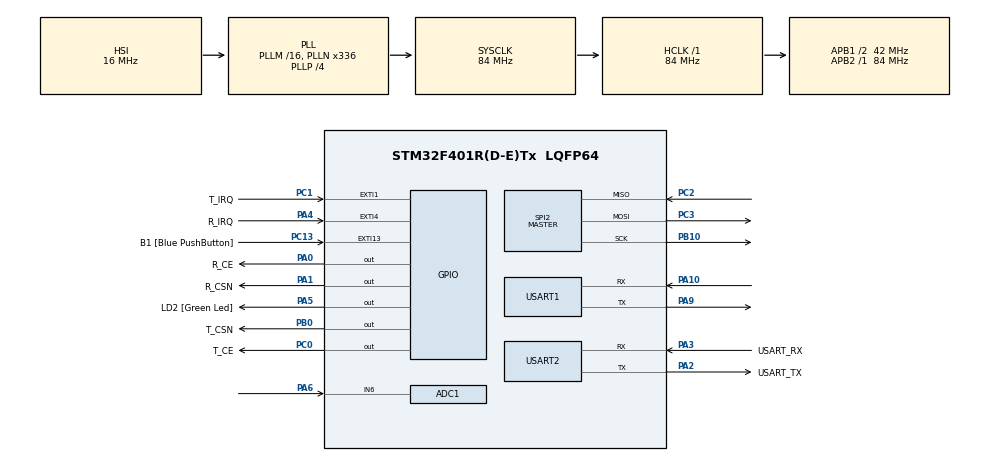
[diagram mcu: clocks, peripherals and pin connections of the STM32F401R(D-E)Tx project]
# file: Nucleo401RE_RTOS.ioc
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ADC1.Channel-4\#ChannelRegularConversion=ADC_CHANNEL_6
ADC1.ClockPrescaler=ADC_CLOCK_SYNC_PCLK_DIV4
ADC1.ContinuousConvMode=DISABLE
ADC1.DMAContinuousRequests=DISABLE
ADC1.DataAlign=ADC_DATAALIGN_RIGHT
ADC1.DiscontinuousConvMode=DISABLE
ADC1.EOCSelection=ADC_EOC_SINGLE_CONV
ADC1.EnableAnalogWatchDog=false
ADC1.ExternalTrigConvEdge=ADC_EXTERNALTRIGCONVEDGE_NONE
ADC1.InjNumberOfConversion=0
ADC1.NbrOfConversion=1
ADC1.NbrOfConversionFlag=1
ADC1.Rank-4\#ChannelRegularConversion=1
ADC1.Resolution=ADC_RESOLUTION_12B
ADC1.SamplingTime-4\#ChannelRegularConversion=ADC_SAMPLETIME_3CYCLES
ADC1.ScanConvMode=DISABLE
ADC1.master=1
Dma.Request0=USART2_TX
Dma.USART2_TX.0.Direction=DMA_MEMORY_TO_PERIPH
Dma.USART2_TX.0.FIFOMode=DMA_FIFOMODE_DISABLE
Dma.USART2_TX.0.Instance=DMA1_Stream6
Dma.USART2_TX.0.MemDataAlignment=DMA_MDATAALIGN_BYTE
Dma.USART2_TX.0.MemInc=DMA_MINC_ENABLE
Dma.USART2_TX.0.Mode=DMA_NORMAL
Dma.USART2_TX.0.PeriphDataAlignment=DMA_PDATAALIGN_BYTE
Dma.USART2_TX.0.PeriphInc=DMA_PINC_DISABLE
Dma.USART2_TX.0.Priority=DMA_PRIORITY_LOW
FREERTOS.BinarySemaphores01=nRFTxStatus;nRFRxStatus
FREERTOS.INCLUDE_vTaskDelayUntil=1
FREERTOS.Queues01=CmdQueue,32,xCmd,NULL;U2TxQueue,32,xCmdResponse,NULL
FREERTOS.Tasks01=defaultTask,-1,128,StartDefaultTask,Default;CMDQ,1,512,CmdProcessQueue,Default;U2TX,-1,256,Usart2Tx,Default;SPITxIrq,0,256,SPITxIrqStatus,Default;SPIRxIrq,0,256,SPIRxIrqStatus,Default
FREERTOS.configTOTAL_HEAP_SIZE=15450
IWDG.Prescaler=IWDG_PRESCALER_16
Mcu.Family=STM32F4
Mcu.Name=STM32F401R(D-E)Tx
Mcu.Package=LQFP64
NVIC.DMA1_Stream6_IRQn=true\:5\:0\:false\:false\:true
NVIC.EXTI15_10_IRQn=true\:5\:0\:false\:false\:true
NVIC.EXTI1_IRQn=true\:5\:0\:false\:false\:true
NVIC.EXTI4_IRQn=true\:5\:0\:false\:false\:true
NVIC.PriorityGroup=NVIC_PRIORITYGROUP_4
NVIC.TIM1_UP_TIM10_IRQn=true\:5\:0\:false\:false\:true
PA0-WKUP.GPIO_Label=R_CE
PA0-WKUP.GPIO_ModeDefaultOutputPP=GPIO_MODE_OUTPUT_OD
PA0-WKUP.GPIO_PuPd=GPIO_PULLUP
PA0-WKUP.GPIO_Speed=GPIO_SPEED_FREQ_VERY_HIGH
PA0-WKUP.Signal=GPIO_Output
PA1.GPIO_Label=R_CSN
PA1.GPIO_Speed=GPIO_SPEED_FREQ_VERY_HIGH
PA1.Signal=GPIO_Output
PA10.Mode=Asynchronous
PA10.Signal=USART1_RX
PA2.GPIO_Label=USART_TX
PA2.GPIO_Mode=GPIO_MODE_AF_PP
PA2.GPIO_PuPd=GPIO_NOPULL
PA2.GPIO_Speed=GPIO_SPEED_FREQ_LOW
PA2.Mode=Asynchronous
PA2.Signal=USART2_TX
PA3.GPIO_Label=USART_RX
PA3.GPIO_Mode=GPIO_MODE_AF_PP
PA3.GPIO_PuPd=GPIO_NOPULL
PA3.GPIO_Speed=GPIO_SPEED_FREQ_LOW
PA3.Mode=Asynchronous
PA3.Signal=USART2_RX
PA4.GPIO_Label=R_IRQ
PA4.GPIO_ModeDefaultEXTI=GPIO_MODE_IT_FALLING
PA4.Signal=GPXTI4
PA5.GPIO_Label=LD2 [Green Led]
PA5.GPIO_Mode=GPIO_MODE_OUTPUT_PP
PA5.GPIO_PuPd=GPIO_NOPULL
PA5.GPIO_Speed=GPIO_SPEED_FREQ_LOW
PA5.Signal=GPIO_Output
PA6.Signal=ADCx_IN6
PA9.Mode=Asynchronous
PA9.Signal=USART1_TX
PB0.GPIO_Label=T_CSN
PB0.GPIO_ModeDefaultOutputPP=GPIO_MODE_OUTPUT_OD
PB0.GPIO_PuPd=GPIO_PULLUP
PB0.GPIO_Speed=GPIO_SPEED_FREQ_VERY_HIGH
PB0.Signal=GPIO_Output
PB10.GPIO_PuPd=GPIO_PULLDOWN
PB10.Mode=Full_Duplex_Master
PB10.Signal=SPI2_SCK
PC0.GPIO_Label=T_CE
PC0.GPIO_ModeDefaultOutputPP=GPIO_MODE_OUTPUT_OD
PC0.GPIO_PuPd=GPIO_PULLUP
PC0.GPIO_Speed=GPIO_SPEED_FREQ_VERY_HIGH
PC0.Signal=GPIO_Output
PC1.GPIO_Label=T_IRQ
PC1.GPIO_ModeDefaultEXTI=GPIO_MODE_IT_FALLING
PC1.Signal=GPXTI1
PC13-ANTI_TAMP.GPIO_Label=B1 [Blue PushButton]
PC13-ANTI_TAMP.GPIO_ModeDefaultEXTI=GPIO_MODE_IT_FALLING
PC13-ANTI_TAMP.GPIO_PuPd=GPIO_PULLUP
PC13-ANTI_TAMP.Signal=GPXTI13
PC14-OSC32_IN.Signal=RCC_OSC32_IN
PC15-OSC32_OUT.Signal=RCC_OSC32_OUT
PC2.GPIO_PuPd=GPIO_PULLUP
PC2.Mode=Full_Duplex_Master
PC2.Signal=SPI2_MISO
PC3.GPIO_PuPd=GPIO_PULLUP
PC3.Mode=Full_Duplex_Master
PC3.Signal=SPI2_MOSI
PH0\ -\ OSC_IN.Signal=RCC_OSC_IN
PH1\ -\ OSC_OUT.Signal=RCC_OSC_OUT
ProjectManager.TargetToolchain=MDK-ARM V5
RCC.AHBFreq_Value=84000000
RCC.APB1CLKDivider=RCC_HCLK_DIV2
RCC.APB1Freq_Value=42000000
RCC.APB1TimFreq_Value=84000000
RCC.APB2Freq_Value=84000000
RCC.APB2TimFreq_Value=84000000
RCC.CortexFreq_Value=84000000
RCC.HCLKFreq_Value=84000000
RCC.HSE_VALUE=8000000
RCC.HSI_VALUE=16000000
RCC.LSE_VALUE=32768
RCC.PLLN=336
RCC.PLLP=RCC_PLLP_DIV4
RCC.PLLQ=7
RCC.SYSCLKFreq_VALUE=84000000
RCC.SYSCLKSource=RCC_SYSCLKSOURCE_PLLCLK
RCC.VCOOutputFreq_Value=336000000
SH.ADCx_IN6.0=ADC1_IN6,IN6
SPI2.BaudRatePrescaler=SPI_BAUDRATEPRESCALER_16
SPI2.Mode=SPI_MODE_MASTER
TIM10.Period=1000
TIM10.Prescaler=8399
VP_CRC_VS_CRC.Mode=CRC_Activate
VP_FREERTOS_VS_ENABLE.Mode=Enabled
VP_IWDG_VS_IWDG.Mode=IWDG_Activate
VP_TIM10_VS_ClockSourceINT.Mode=Enable_Timer
board=NUCLEO-F401RE

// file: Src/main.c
/**
  ******************************************************************************
  * File Name          : main.c
  * Description        : Main program body
  ******************************************************************************
  *
  * COPYRIGHT(c) 2016 STMicroelectronics
  *
  * Redistribution and use in source and binary forms, with or without modification,
  * are permitted provided that the following conditions are met:
  *   1. Redistributions of source code must retain the above copyright notice,
  *      this list of conditions and the following disclaimer.
  *   2. Redistributions in binary form must reproduce the above copyright notice,
  *      this list of conditions and the following disclaimer in the documentation
  *      and/or other materials provided with the distribution.
  *   3. Neither the name of STMicroelectronics nor the names of its contributors
  *      may be used to endorse or promote products derived from this software
  *      without specific prior written permission.
  *
  * THIS SOFTWARE IS PROVIDED BY THE COPYRIGHT HOLDERS AND CONTRIBUTORS "AS IS"
  * AND ANY EXPRESS OR IMPLIED WARRANTIES, INCLUDING, BUT NOT LIMITED TO, THE
  * IMPLIED WARRANTIES OF MERCHANTABILITY AND FITNESS FOR A PARTICULAR PURPOSE ARE
  * DISCLAIMED. IN NO EVENT SHALL THE COPYRIGHT HOLDER OR CONTRIBUTORS BE LIABLE
  * FOR ANY DIRECT, INDIRECT, INCIDENTAL, SPECIAL, EXEMPLARY, OR CONSEQUENTIAL
  * DAMAGES (INCLUDING, BUT NOT LIMITED TO, PROCUREMENT OF SUBSTITUTE GOODS OR
  * SERVICES; LOSS OF USE, DATA, OR PROFITS; OR BUSINESS INTERRUPTION) HOWEVER
  * CAUSED AND ON ANY THEORY OF LIABILITY, WHETHER IN CONTRACT, STRICT LIABILITY,
  * OR TORT (INCLUDING NEGLIGENCE OR OTHERWISE) ARISING IN ANY WAY OUT OF THE USE
  * OF THIS SOFTWARE, EVEN IF ADVISED OF THE POSSIBILITY OF SUCH DAMAGE.
  *
  ******************************************************************************
  */
#include "adc.h"
#include "cmsis_os.h"
#include "crc.h"
#include "dma.h"
#include "gpio.h"
#include "iwdg.h"
#include "spi.h"
#include "stm32f4xx_hal.h"
#include "tim.h"
#include "usart.h"

/* USER CODE BEGIN Includes */
#include "nRF24L01P.h"
#include "timestamp.h"
#include "xdebug.h"
#include "rf_device.h"
/* USER CODE END Includes */

/* USER CODE BEGIN PV */
/* Private variables ---------------------------------------------------------*/
#define PUTCHAR_PROTOTYPE int fputc(int ch, FILE *f)
extern char *CompileTime;
extern char *CompileDate;
/* USER CODE END PV */

void SystemClock_Config(void);
void MX_FREERTOS_Init(void);

/* USER CODE BEGIN PFP */
/* Private function prototypes -----------------------------------------------*/

/* USER CODE END PFP */

int main(void)
{

    /* MCU Configuration----------------------------------------------------------*/

    /* Reset of all peripherals, Initializes the Flash interface and the Systick. */
    HAL_Init();

    /* Configure the system clock */
    SystemClock_Config();

    /* Initialize all configured peripherals */
    MX_GPIO_Init();
    MX_DMA_Init();
    MX_ADC1_Init();
    MX_CRC_Init();
    MX_IWDG_Init();
    MX_SPI2_Init();
    MX_TIM10_Init();
    MX_USART2_UART_Init();
    MX_USART1_UART_Init();

    /* USER CODE BEGIN 2 */

    HAL_IWDG_Start(&hiwdg);

    /* Enable the UART Data Register not empty Interrupt */
    __HAL_UART_ENABLE_IT(&huart1, UART_IT_RXNE);
    __HAL_UART_ENABLE_IT(&huart1, UART_IT_IDLE);

    __HAL_UART_ENABLE_IT(&huart2, UART_IT_RXNE);
    __HAL_UART_ENABLE_IT(&huart2, UART_IT_IDLE);

    /*
  uint32_t g_ADCValue;
  HAL_ADC_Start(&hadc1);
  for(;;) {
    if (HAL_ADC_PollForConversion(&hadc1, 1000) == HAL_OK)
        {
          g_ADCValue = HAL_ADC_GetValue(&hadc1);
          dxprintf("ADC: %02x\n", (uint8_t)g_ADCValue);
          HAL_ADC_Start(&hadc1);
        }
  }
  */
    dxprintf("Compiled in: %s at %s!\n\n", CompileDate, CompileTime);

    nRF24_Configure();
    dxprintf("nRF24_Configure\n");
    nRF24_TXMode(&hspi2);
    //  dxprintf("nRF24_TXMode\n");
    nRF24_RXMode(&hspi2, 1);
    //  dxprintf("nRF24_RXMode\n");

    nRF24_HandleStatus(&hspi2, CHIP_Tx);
    dxprintf("nRF24_HandleStatus\n");

    dxprintf("All Ready!\n\n");

    //  HAL_TIM_Base_Start_IT(&htim10);
    //  HAL_TIM_Base_Start_IT(&htim11);

    rfLoadDevices();
    /* USER CODE END 2 */

    /* Call init function for freertos objects (in freertos.c) */
    MX_FREERTOS_Init();

    /* Start scheduler */
    osKernelStart();

    /* We should never get here as control is now taken by the scheduler */

    /* Infinite loop */
    while (1)
    {

    }
}

/** System Clock Configuration
*/
void SystemClock_Config(void)
{

    RCC_OscInitTypeDef RCC_OscInitStruct;
    RCC_ClkInitTypeDef RCC_ClkInitStruct;

    __HAL_RCC_PWR_CLK_ENABLE();

    __HAL_PWR_VOLTAGESCALING_CONFIG(PWR_REGULATOR_VOLTAGE_SCALE2);

    RCC_OscInitStruct.OscillatorType      = RCC_OSCILLATORTYPE_HSI | RCC_OSCILLATORTYPE_LSI;
    RCC_OscInitStruct.HSIState            = RCC_HSI_ON;
    RCC_OscInitStruct.HSICalibrationValue = 16;
    RCC_OscInitStruct.LSIState            = RCC_LSI_ON;
    RCC_OscInitStruct.PLL.PLLState        = RCC_PLL_ON;
    RCC_OscInitStruct.PLL.PLLSource       = RCC_PLLSOURCE_HSI;
    RCC_OscInitStruct.PLL.PLLM            = 16;
    RCC_OscInitStruct.PLL.PLLN            = 336;
    RCC_OscInitStruct.PLL.PLLP            = RCC_PLLP_DIV4;
    RCC_OscInitStruct.PLL.PLLQ            = 7;
    HAL_RCC_OscConfig(&RCC_OscInitStruct);

    RCC_ClkInitStruct.ClockType      = RCC_CLOCKTYPE_HCLK | RCC_CLOCKTYPE_SYSCLK | RCC_CLOCKTYPE_PCLK1 | RCC_CLOCKTYPE_PCLK2;
    RCC_ClkInitStruct.SYSCLKSource   = RCC_SYSCLKSOURCE_PLLCLK;
    RCC_ClkInitStruct.AHBCLKDivider  = RCC_SYSCLK_DIV1;
    RCC_ClkInitStruct.APB1CLKDivider = RCC_HCLK_DIV2;
    RCC_ClkInitStruct.APB2CLKDivider = RCC_HCLK_DIV1;
    HAL_RCC_ClockConfig(&RCC_ClkInitStruct, FLASH_LATENCY_2);

    HAL_SYSTICK_Config(HAL_RCC_GetHCLKFreq() / 1000);

    HAL_SYSTICK_CLKSourceConfig(SYSTICK_CLKSOURCE_HCLK);

    /* SysTick_IRQn interrupt configuration */
    HAL_NVIC_SetPriority(SysTick_IRQn, 15, 0);
}

/* USER CODE BEGIN 4 */

PUTCHAR_PROTOTYPE
{
    HAL_UART_Transmit(&huart2, (uint8_t *)&ch, 1, 0xFF);
    return ch;
}
/* USER CODE END 4 */

#ifdef USE_FULL_ASSERT

/**
   * @brief Reports the name of the source file and the source line number
   * where the assert_param error has occurred.
   * @param file: pointer to the source file name
   * @param line: assert_param error line source number
   * @retval None
   */
void assert_failed(uint8_t *file, uint32_t line)
{
    /* USER CODE BEGIN 6 */
    /* User can add his own implementation to report the file name and line number,*/
    dxprintf("Wrong parameters value: file %s on line %d\r\n", file, line);
    /* USER CODE END 6 */
}

#endif

/************************ (C) COPYRIGHT STMicroelectronics *****END OF FILE****/

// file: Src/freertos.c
/**
  ******************************************************************************
  * File Name          : freertos.c
  * Description        : Code for freertos applications
  ******************************************************************************
  *
  * COPYRIGHT(c) 2016 STMicroelectronics
  *
  * Redistribution and use in source and binary forms, with or without modification,
  * are permitted provided that the following conditions are met:
  *   1. Redistributions of source code must retain the above copyright notice,
  *      this list of conditions and the following disclaimer.
  *   2. Redistributions in binary form must reproduce the above copyright notice,
  *      this list of conditions and the following disclaimer in the documentation
  *      and/or other materials provided with the distribution.
  *   3. Neither the name of STMicroelectronics nor the names of its contributors
  *      may be used to endorse or promote products derived from this software
  *      without specific prior written permission.
  *
  * THIS SOFTWARE IS PROVIDED BY THE COPYRIGHT HOLDERS AND CONTRIBUTORS "AS IS"
  * AND ANY EXPRESS OR IMPLIED WARRANTIES, INCLUDING, BUT NOT LIMITED TO, THE
  * IMPLIED WARRANTIES OF MERCHANTABILITY AND FITNESS FOR A PARTICULAR PURPOSE ARE
  * DISCLAIMED. IN NO EVENT SHALL THE COPYRIGHT HOLDER OR CONTRIBUTORS BE LIABLE
  * FOR ANY DIRECT, INDIRECT, INCIDENTAL, SPECIAL, EXEMPLARY, OR CONSEQUENTIAL
  * DAMAGES (INCLUDING, BUT NOT LIMITED TO, PROCUREMENT OF SUBSTITUTE GOODS OR
  * SERVICES; LOSS OF USE, DATA, OR PROFITS; OR BUSINESS INTERRUPTION) HOWEVER
  * CAUSED AND ON ANY THEORY OF LIABILITY, WHETHER IN CONTRACT, STRICT LIABILITY,
  * OR TORT (INCLUDING NEGLIGENCE OR OTHERWISE) ARISING IN ANY WAY OUT OF THE USE
  * OF THIS SOFTWARE, EVEN IF ADVISED OF THE POSSIBILITY OF SUCH DAMAGE.
  *
  ******************************************************************************
  */

#include "FreeRTOS.h"
#include "cmsis_os.h"
#include "task.h"

/* USER CODE BEGIN Includes */
#include "UUID.h"
#include "at_processor.h"
#include "config.h"
#include "gpio.h"
#include "iwdg.h"
#include "nRF24L01P.h"
#include "spi.h"
#include "tim.h"
#include "usart.h"
#include "xdebug.h"
#include <stdlib.h>
#include <string.h>
/* USER CODE END Includes */

osThreadId    defaultTaskHandle;
osThreadId    CMDQHandle;
osThreadId    U2TXHandle;
osThreadId    SPITxIrqHandle;
osThreadId    SPIRxIrqHandle;
osMessageQId  CmdQueueHandle;
osMessageQId  U2TxQueueHandle;
osSemaphoreId nRFTxStatusHandle;
osSemaphoreId nRFRxStatusHandle;

/* USER CODE BEGIN Variables */

#define OUTPUT_DATA_LENGTH 20

uint8_t Usart2Char                   = 0x00;
uint8_t Usart2Cmd[AS_CMD_LENGTH + 1] = {0x00};
uint8_t CPosition                    = 0x00;

/* USER CODE END Variables */

void StartDefaultTask(void const *argument);
void CmdProcessQueue(void const *argument);
void Usart2Tx(void const *argument);
void SPITxIrqStatus(void const *argument);
void SPIRxIrqStatus(void const *argument);

void MX_FREERTOS_Init(void); /* (MISRA C 2004 rule 8.1) */

/* USER CODE BEGIN FunctionPrototypes */
void AddCMDToQueue(void);
/* USER CODE END FunctionPrototypes */

/* Hook prototypes */

/* Init FreeRTOS */

void MX_FREERTOS_Init(void)
{

    /* Create the semaphores(s) */
    /* definition and creation of nRFTxStatus */
    osSemaphoreDef(nRFTxStatus);
    nRFTxStatusHandle = osSemaphoreCreate(osSemaphore(nRFTxStatus), 1);

    /* definition and creation of nRFRxStatus */
    osSemaphoreDef(nRFRxStatus);
    nRFRxStatusHandle = osSemaphoreCreate(osSemaphore(nRFRxStatus), 1);

    /* Create the thread(s) */
    /* definition and creation of defaultTask */
    osThreadDef(defaultTask, StartDefaultTask, osPriorityBelowNormal, 0, 128);
    defaultTaskHandle = osThreadCreate(osThread(defaultTask), NULL);

    /* definition and creation of CMDQ */
    osThreadDef(CMDQ, CmdProcessQueue, osPriorityAboveNormal, 0, 512);
    CMDQHandle = osThreadCreate(osThread(CMDQ), NULL);

    /* definition and creation of U2TX */
    osThreadDef(U2TX, Usart2Tx, osPriorityBelowNormal, 0, 256);
    U2TXHandle = osThreadCreate(osThread(U2TX), NULL);

    /* definition and creation of SPITxIrq */
    osThreadDef(SPITxIrq, SPITxIrqStatus, osPriorityNormal, 0, 256);
    SPITxIrqHandle = osThreadCreate(osThread(SPITxIrq), NULL);

    /* definition and creation of SPIRxIrq */
    osThreadDef(SPIRxIrq, SPIRxIrqStatus, osPriorityNormal, 0, 256);
    SPIRxIrqHandle = osThreadCreate(osThread(SPIRxIrq), NULL);

    /* Create the queue(s) */
    /* definition and creation of CmdQueue */
    osMessageQDef(CmdQueue, 32, xCmd);
    CmdQueueHandle = osMessageCreate(osMessageQ(CmdQueue), NULL);

    /* definition and creation of U2TxQueue */
    osMessageQDef(U2TxQueue, 32, xCmdResponse);
    U2TxQueueHandle = osMessageCreate(osMessageQ(U2TxQueue), NULL);

}

/* StartDefaultTask function */
void StartDefaultTask(void const *argument)
{

    /* USER CODE BEGIN StartDefaultTask */
    /* Infinite loop */
    for (;;)
    {
        HAL_IWDG_Refresh(&hiwdg);
        HAL_GPIO_TogglePin(GPIOA, GPIO_PIN_5);
        osDelay(500);
    }
    /* USER CODE END StartDefaultTask */
}

/* CmdProcessQueue function */
void CmdProcessQueue(void const *argument)
{
    /* USER CODE BEGIN CmdProcessQueue */

    xCmd qCmd;

    /* Infinite loop */
    for (;;)
    {
        if (xQueueReceive(CmdQueueHandle, &qCmd, portMAX_DELAY))
        {
            ProcessATCommand((char *)qCmd.cData, qCmd.cLength);
            free(qCmd.cData);
        }
    }
    /* USER CODE END CmdProcessQueue */
}

/* Usart2Tx function */
void Usart2Tx(void const *argument)
{
    /* USER CODE BEGIN Usart2Tx */

    xCmdResponse qCmdResponse;

    /* Infinite loop */
    for (;;)
    {
        if (xQueueReceive(U2TxQueueHandle, &qCmdResponse, portMAX_DELAY))
        {
            //      dxprintf("=%s\n", qCmdResponse.cData);
            HAL_StatusTypeDef Status;
            do
            {
                Status = HAL_UART_Transmit(&huart2, qCmdResponse.cData, qCmdResponse.cLength, 100);
            } while (Status != HAL_OK);
            do
            {
                Status = HAL_UART_Transmit(&huart1, qCmdResponse.cData, qCmdResponse.cLength, 100);
            } while (Status != HAL_OK);
            vPortFree(qCmdResponse.cData);
        }
    }
    /* USER CODE END Usart2Tx */
}

/* SPITxIrqStatus function */
void SPITxIrqStatus(void const *argument)
{
    /* USER CODE BEGIN SPITxIrqStatus */
    /* Infinite loop */
    for (;;)
    {
        xSemaphoreTake(nRFTxStatusHandle, portMAX_DELAY);

        nRF24_HandleStatus(&hspi2, CHIP_Tx);
    }
    /* USER CODE END SPITxIrqStatus */
}

/* SPIRxIrqStatus function */
void SPIRxIrqStatus(void const *argument)
{
    /* USER CODE BEGIN SPIRxIrqStatus */
    /* Infinite loop */
    for (;;)
    {
        xSemaphoreTake(nRFRxStatusHandle, portMAX_DELAY);

        nRF24_HandleStatus(&hspi2, CHIP_Rx);
    }
    /* USER CODE END SPIRxIrqStatus */
}

/* USER CODE BEGIN Application */
void USART1_IRQHandler(void)
{
    if ((__HAL_UART_GET_FLAG(&huart1, UART_FLAG_RXNE) != RESET) && (__HAL_UART_GET_IT_SOURCE(&huart1, UART_IT_RXNE) != RESET))
    {
        Usart2Char = (uint8_t)(huart1.Instance->DR & (uint8_t)0x00FF);
        if (Usart2Char == AS_CMD_END_CHAR)
        {
            AddCMDToQueue();
        }
        else
        {
            if (CPosition < AS_CMD_LENGTH)
            {
                Usart2Cmd[CPosition++] = Usart2Char;
            }
            else
            {
                CPosition          = 0x00;
                uint8_t ErrorMsg[] = "Error Cmd too long!\n";
                HAL_UART_Transmit(&huart1, ErrorMsg, sizeof(ErrorMsg) - 1, 10);
            }
        }
    }

    if ((__HAL_UART_GET_FLAG(&huart1, UART_FLAG_IDLE) != RESET) && (__HAL_UART_GET_IT_SOURCE(&huart1, UART_IT_IDLE) != RESET))
    {
        AddCMDToQueue();
    }
    __HAL_UART_CLEAR_PEFLAG(&huart1);
}

void USART2_IRQHandler(void)
{
    if ((__HAL_UART_GET_FLAG(&huart2, UART_FLAG_RXNE) != RESET) && (__HAL_UART_GET_IT_SOURCE(&huart2, UART_IT_RXNE) != RESET))
    {
        Usart2Char = (uint8_t)(huart2.Instance->DR & (uint8_t)0x00FF);
        if (Usart2Char == AS_CMD_END_CHAR)
        {
            AddCMDToQueue();
        }
        else
        {
            if (CPosition < AS_CMD_LENGTH)
            {
                Usart2Cmd[CPosition++] = Usart2Char;
            }
            else
            {
                CPosition          = 0x00;
                uint8_t ErrorMsg[] = "Error Cmd too long!\n";
                HAL_UART_Transmit(&huart2, &ErrorMsg[0], sizeof(ErrorMsg) - 1, 10);
            }
        }
    }

    if ((__HAL_UART_GET_FLAG(&huart2, UART_FLAG_IDLE) != RESET) && (__HAL_UART_GET_IT_SOURCE(&huart2, UART_IT_IDLE) != RESET))
    {
        AddCMDToQueue();
    }
    __HAL_UART_CLEAR_PEFLAG(&huart2);
}

void HAL_GPIO_EXTI_Callback(uint16_t GPIO_Pin)
{
    portBASE_TYPE xHigherPriorityTaskWoken = pdFALSE;
    if (GPIO_Pin == GPIO_PIN_13)
    {
        dxprintf("Button... But for what?\n");
    }
    else if (GPIO_Pin == T_IRQ_Pin)
    {
        xSemaphoreGiveFromISR(nRFTxStatusHandle, &xHigherPriorityTaskWoken);
    }
    else if (GPIO_Pin == R_IRQ_Pin)
    {
        xSemaphoreGiveFromISR(nRFRxStatusHandle, &xHigherPriorityTaskWoken);
    }
    else
    {
        dxprintf("Uncknown IT, Pin: %x!\n", GPIO_Pin);
    }
}
/*
void HAL_TIM_PeriodElapsedCallback(TIM_HandleTypeDef *htim) {
  if (htim->Instance == TIM10) {
    AddCMDToQueue();
  }
}
*/
void AddCMDToQueue(void)
{
    if (CPosition < 5)
    {
        CPosition = 0x00;
    }
    else if (Usart2Cmd[0] != AS_CMD_BEGIN_CHAR1 || Usart2Cmd[1] != AS_CMD_BEGIN_CHAR2 || Usart2Cmd[2] != AS_CMD_BEGIN_CHAR3)
    {
        CPosition = 0x00;
    }
    else
    {
        uint8_t *Buf = (uint8_t *)malloc(CPosition);
        if (Buf == NULL)
        {
            CPosition          = 0x00;
            uint8_t ErrorMsg[] = "Error: can't allocate memmory!\n";
            HAL_UART_Transmit_DMA(&huart2, &ErrorMsg[0], sizeof(ErrorMsg));
        }
        else
        {
            Usart2Cmd[CPosition] = 0x00;
            memcpy(Buf, &Usart2Cmd, CPosition);
            xCmd qCmd;
            qCmd.cLength = CPosition;
            qCmd.cData   = Buf;
            CPosition    = 0x00;
            //          dxprintf("q: %s, L: %d, P: %p, B: %p\n", qCmd.cData, qCmd.cLength, qCmd.cData, Buf);
            BaseType_t xHigherPriorityTaskWoken = pdFALSE;
            if (xQueueSendFromISR(CmdQueueHandle, &qCmd, &xHigherPriorityTaskWoken) != pdPASS)
            {
                //Error, the queue if full!!!
                //TODO: handle this error
                dxprintf("Error to add to Q!\n");
            }
        }
    }
}

/* USER CODE END Application */

/************************ (C) COPYRIGHT STMicroelectronics *****END OF FILE****/
